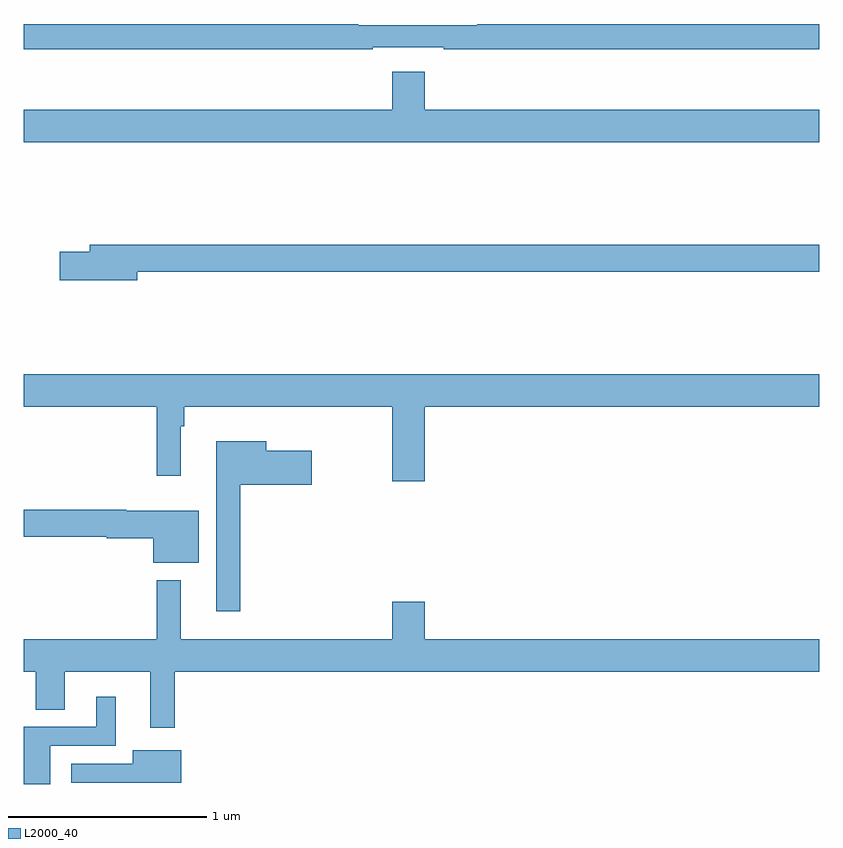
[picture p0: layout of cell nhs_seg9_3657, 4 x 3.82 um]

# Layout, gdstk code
import gdstk
lib = gdstk.Library(unit=1e-6, precision=1e-09)
def P(c, l, *ps):  # polygons
    for p in ps: c.add(gdstk.Polygon(p, *l))
L2000_40 = (2000, 40)

nhs_seg9_3657 = lib.new_cell('nhs_seg9_3657')
P(nhs_seg9_3657, L2000_40, [(320.756,1222.206),(321.112,1222.206),(321.112,1222.194),(323,1222.194),(323,1222.322),(321.281,1222.322),(321.281,1222.315),(320.681,1222.315),(320.681,1222.322),(319,1222.322),(319,1222.194),(320.756,1222.194)],
  [(323,1221.892),(321.016,1221.892),(321.016,1222.081),(320.852,1222.081),(320.852,1221.892),(319,1221.892),(319,1221.728),(323,1221.728)],
  [(319.57,1221.076),(323,1221.076),(323,1221.212),(319.331,1221.212),(319.331,1221.176),(319.182,1221.176),(319.182,1221.034),(319.57,1221.034)],
  [(321.016,1220.396),(323,1220.396),(323,1220.56),(319,1220.56),(319,1220.396),(319.668,1220.396),(319.668,1220.049),(319.789,1220.049),(319.789,1220.3),(319.807,1220.3),(319.807,1220.396),(320.852,1220.396),(320.852,1220.022),(321.016,1220.022)],
  [(320.089,1220.006),(320.449,1220.006),(320.449,1220.176),(320.218,1220.176),(320.218,1220.224),(319.967,1220.224),(319.967,1219.368),(320.089,1219.368)],
  [(319.879,1219.873),(319.516,1219.873),(319.516,1219.88),(319,1219.88),(319,1219.744),(319.416,1219.744),(319.416,1219.736),(319.652,1219.736),(319.652,1219.613),(319.879,1219.613)],
  [(319.759,1219.064),(323,1219.064),(323,1219.228),(321.016,1219.228),(321.016,1219.417),(320.852,1219.417),(320.852,1219.228),(319.789,1219.228),(319.789,1219.525),(319.668,1219.525),(319.668,1219.228),(319,1219.228),(319,1219.064),(319.06,1219.064),(319.06,1218.874),(319.207,1218.874),(319.207,1219.064),(319.637,1219.064),(319.637,1218.783),(319.759,1218.783)],
  [(319.132,1218.693),(319.462,1218.693),(319.462,1218.94),(319.364,1218.94),(319.364,1218.789),(319,1218.789),(319,1218.5),(319.132,1218.5)],
  [(319.792,1218.67),(319.547,1218.67),(319.547,1218.603),(319.239,1218.603),(319.239,1218.507),(319.551,1218.507),(319.551,1218.506),(319.792,1218.506)])

lib.write_gds('nhs_seg9_3657.gds')
